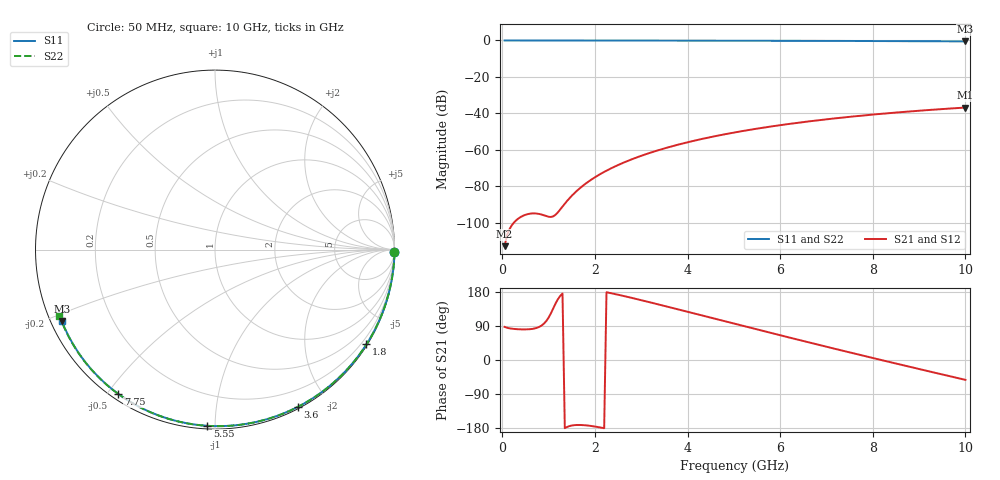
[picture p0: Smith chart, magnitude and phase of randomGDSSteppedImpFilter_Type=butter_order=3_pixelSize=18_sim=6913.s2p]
! freq	dB(S11)	phase(S11)	dB(S12)	phase(S12)
!  dB(S21)	phase(S21)	dB(S22)	phase(S22)
!S-par simulation data
#  GHz  S  DB  R 50
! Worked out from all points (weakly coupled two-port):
!   200 points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, 50 MHz to 10 GHz, reference 50 ohm
!   highest |S21| = -36.81 dB at 10 GHz (marker M1); lowest = -112.9 dB at 50 MHz (marker M2)
!   lowest |S11| = -0.5 dB at 10 GHz (marker M3), VSWR 33.54, Z = 1.56 - j11.1 ohm
!   |S11| at or under -10 dB: nowhere
!   |S22| runs from -0.5 to 0.0 dB; largest |S21 - S12| = 0
!   S11 on the Smith chart (normalised r, x): 50 MHz: open; 1.8 GHz: 0.03, -3.49; 3.6 GHz: 0.02, -1.65; 5.55 GHz: 0.02, -0.96; 7.75 GHz: 0.02, -0.53; 10 GHz: 0.03, -0.22
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0.05  -0.00 -0.9  -112.85 87.4  -112.85 87.4  -0.00 -0.9
0.45  -0.01 -8.1  -96.15 80.7  -96.15 80.7  -0.01 -8.2
0.9  -0.02 -16.2  -95.93 96.0  -95.93 96.0  -0.02 -16.4
1.7  -0.04 -30.3  -80.52 -171.5  -80.52 -171.5  -0.04 -30.6
1.75  -0.04 -31.1  -79.50 -171.9  -79.50 -171.9  -0.04 -31.5
1.8  -0.04 -32.0  -78.53 -172.4  -78.53 -172.4  -0.04 -32.4
1.95  -0.04 -34.6  -75.88 -174.6  -75.88 -174.6  -0.04 -35.0
2.1  -0.05 -37.2  -73.53 -177.7  -73.53 -177.7  -0.05 -37.6
2.3  -0.05 -40.6  -70.78 177.6  -70.78 177.6  -0.05 -41.1
2.5  -0.06 -44.0  -68.34 172.3  -68.34 172.3  -0.06 -44.6
2.9  -0.07 -50.8  -64.20 160.9  -64.20 160.9  -0.07 -51.4
3.4  -0.08 -59.0  -59.97 145.8  -59.97 145.8  -0.08 -59.7
3.6  -0.08 -62.3  -58.51 139.7  -58.51 139.7  -0.08 -63.0
4.3  -0.10 -73.4  -54.10 117.9  -54.10 117.9  -0.11 -74.3
5.05  -0.13 -85.0  -50.31 94.6  -50.31 94.6  -0.13 -86.0
5.55  -0.15 -92.5  -48.18 79.1  -48.18 79.1  -0.15 -93.6
6.1  -0.18 -100.6  -46.12 62.3  -46.12 62.3  -0.18 -101.8
6.7  -0.21 -109.2  -44.15 44.0  -44.15 44.0  -0.21 -110.5
7.75  -0.29 -123.9  -41.27 12.7  -41.27 12.7  -0.29 -125.4
8.35  -0.34 -132.2  -39.88 -4.9  -39.88 -4.9  -0.34 -133.8
9.2  -0.42 -143.8  -38.17 -29.5  -38.17 -29.5  -0.43 -145.7
10  -0.52 -154.9  -36.81 -52.4  -36.81 -52.4  -0.52 -157.0
